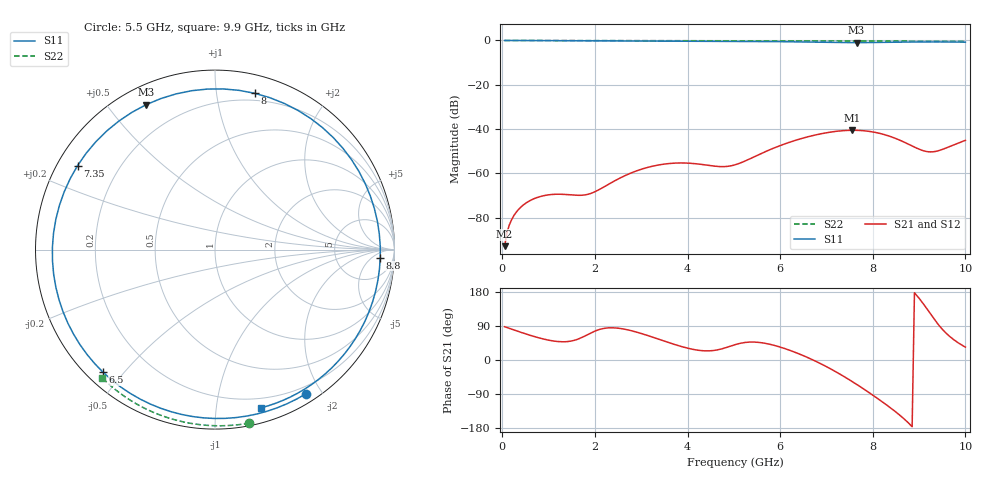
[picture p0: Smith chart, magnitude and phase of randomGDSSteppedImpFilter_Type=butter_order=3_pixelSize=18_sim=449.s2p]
! freq	dB(S11)	phase(S11)	dB(S12)	phase(S12)
!  dB(S21)	phase(S21)	dB(S22)	phase(S22)
!S-par simulation data
#  GHz  S  DB  R 50
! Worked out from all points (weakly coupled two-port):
!   200 points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, 50 MHz to 10 GHz, reference 50 ohm
!   highest |S21| = -40.58 dB at 7.55 GHz (marker M1); lowest = -92.9 dB at 50 MHz (marker M2)
!   lowest |S11| = -1.0 dB at 7.65 GHz (marker M3), VSWR 17.84, Z = 3.91 + j31.4 ohm
!   |S11| at or under -10 dB: nowhere
!   |S22| runs from -0.4 to 0.0 dB; largest |S21 - S12| = 0
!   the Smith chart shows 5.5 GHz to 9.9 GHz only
!   S11 on the Smith chart (normalised r, x): 5.5 GHz: 0.11, -1.81; 6.5 GHz: 0.05, -0.44; 7.35 GHz: 0.06, +0.28; 8 GHz: 0.14, +1.28; 8.8 GHz: 18, -11; 9.9 GHz: 0.12, -1.33
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0.05  -0.00 -3.6  -92.93 87.9  -92.93 87.9  -0.00 -0.8
0.95  -0.09 -67.6  -69.89 53.6  -69.89 53.6  -0.02 -14.5
1.75  -0.15 -124.6  -69.87 61.3  -69.87 61.3  -0.03 -26.5
2.6  -0.22 172.4  -61.55 82.2  -61.55 82.2  -0.05 -39.0
3.4  -0.28 108.3  -56.16 54.0  -56.16 54.0  -0.07 -50.4
3.85  -0.31 70.8  -55.34 36.2  -55.34 36.2  -0.08 -56.7
4.3  -0.34 33.8  -55.99 24.7  -55.99 24.7  -0.09 -62.9
5.05  -0.39 -24.7  -56.03 41.3  -56.03 41.3  -0.11 -72.9
5.5  -0.45 -57.7  -51.97 46.9  -51.97 46.9  -0.13 -78.8
6  -0.54 -94.0  -47.50 34.1  -47.50 34.1  -0.15 -85.2
6.5  -0.68 -132.3  -44.07 11.5  -44.07 11.5  -0.17 -91.4
6.7  -0.74 -149.0  -42.99 0.6  -42.99 0.6  -0.18 -93.9
7.05  -0.86 179.1  -41.52 -20.8  -41.52 -20.8  -0.20 -98.2
7.35  -0.94 148.6  -40.76 -41.5  -40.76 -41.5  -0.22 -101.8
7.55  -0.97 126.7  -40.58 -56.4  -40.58 -56.4  -0.23 -104.2
7.65  -0.97 115.5  -40.60 -64.2  -40.60 -64.2  -0.24 -105.4
8  -0.93 75.8  -41.33 -92.8  -41.33 -92.8  -0.26 -109.5
8.35  -0.83 38.3  -43.18 -123.3  -43.18 -123.3  -0.29 -113.6
8.8  -0.71 -2.8  -47.16 -169.7  -47.16 -169.7  -0.33 -118.9
9.3  -0.67 -39.2  -50.30 112.3  -50.30 112.3  -0.37 -124.6
9.9  -0.74 -73.7  -45.90 41.1  -45.90 41.1  -0.43 -131.4
10  -0.77 -78.8  -45.14 34.1  -45.14 34.1  -0.44 -132.6
